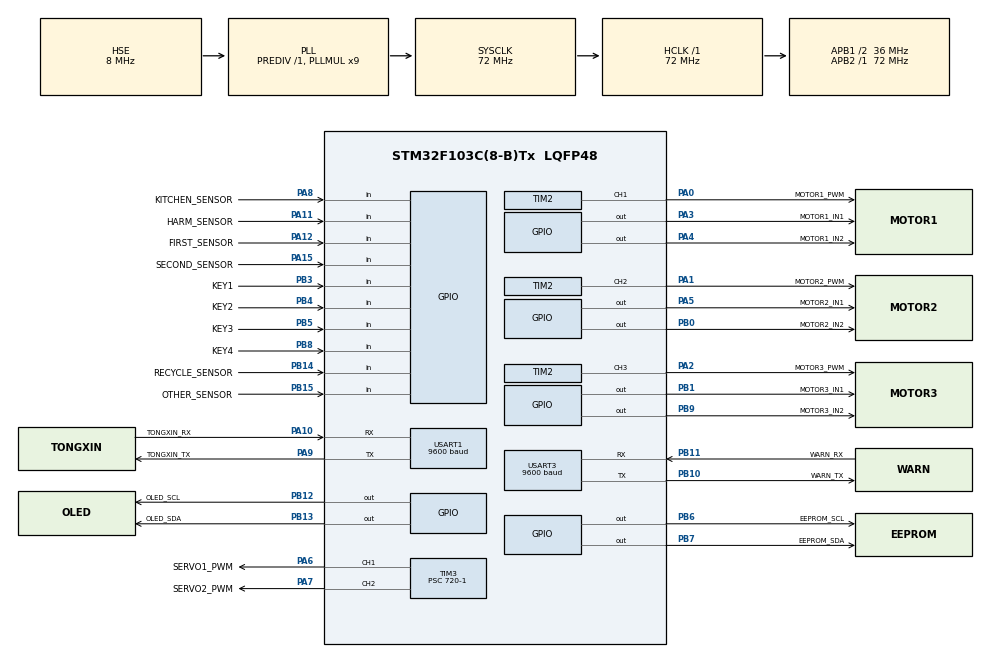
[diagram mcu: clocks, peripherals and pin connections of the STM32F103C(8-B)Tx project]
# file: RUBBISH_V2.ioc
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Dma.Request0=USART1_RX
Dma.Request1=USART1_TX
Dma.USART1_RX.0.Direction=DMA_PERIPH_TO_MEMORY
Dma.USART1_RX.0.Instance=DMA1_Channel5
Dma.USART1_RX.0.MemDataAlignment=DMA_MDATAALIGN_BYTE
Dma.USART1_RX.0.MemInc=DMA_MINC_ENABLE
Dma.USART1_RX.0.Mode=DMA_NORMAL
Dma.USART1_RX.0.PeriphDataAlignment=DMA_PDATAALIGN_BYTE
Dma.USART1_RX.0.PeriphInc=DMA_PINC_DISABLE
Dma.USART1_RX.0.Priority=DMA_PRIORITY_LOW
Dma.USART1_TX.1.Direction=DMA_MEMORY_TO_PERIPH
Dma.USART1_TX.1.Instance=DMA1_Channel4
Dma.USART1_TX.1.MemDataAlignment=DMA_MDATAALIGN_BYTE
Dma.USART1_TX.1.MemInc=DMA_MINC_ENABLE
Dma.USART1_TX.1.Mode=DMA_NORMAL
Dma.USART1_TX.1.PeriphDataAlignment=DMA_PDATAALIGN_BYTE
Dma.USART1_TX.1.PeriphInc=DMA_PINC_DISABLE
Dma.USART1_TX.1.Priority=DMA_PRIORITY_LOW
FREERTOS.INCLUDE_vTaskDelayUntil=1
FREERTOS.Tasks01=ConTask,2,128,Con_Task,Default,NULL,Dynamic,NULL,NULL;DisTask,1,128,Dis_Task,Default,NULL,Dynamic,NULL,NULL;KTask,0,128,K_Task,Default,NULL,Dynamic,NULL,NULL;eepTask,1,128,eep_Task,Default,NULL,Dynamic,NULL,NULL;SenTask,0,128,Sen_Task,Default,NULL,Dynamic,NULL,NULL;UartTask,0,128,Uart_Task,Default,NULL,Dynamic,NULL,NULL
FREERTOS.configTOTAL_HEAP_SIZE=6144
Mcu.Family=STM32F1
Mcu.Name=STM32F103C(8-B)Tx
Mcu.Package=LQFP48
NVIC.DMA1_Channel4_IRQn=true\:5\:0\:false\:false\:true\:true\:false\:true\:true
NVIC.DMA1_Channel5_IRQn=true\:5\:0\:false\:false\:true\:true\:false\:true\:true
NVIC.PriorityGroup=NVIC_PRIORITYGROUP_4
NVIC.TIM4_IRQn=true\:15\:0\:false\:false\:true\:false\:false\:true\:true
NVIC.TimeBase=TIM4_IRQn
NVIC.TimeBaseIP=TIM4
NVIC.USART1_IRQn=true\:5\:0\:true\:false\:true\:true\:true\:true\:true
NVIC.USART3_IRQn=true\:5\:0\:false\:false\:true\:true\:true\:true\:true
PA0-WKUP.GPIO_Label=MOTOR1_PWM
PA0-WKUP.Signal=S_TIM2_CH1_ETR
PA1.GPIO_Label=MOTOR2_PWM
PA1.Signal=S_TIM2_CH2
PA10.GPIO_Label=TONGXIN_RX
PA10.Mode=Asynchronous
PA10.Signal=USART1_RX
PA11.GPIO_Label=HARM_SENSOR
PA11.Signal=GPIO_Input
PA12.GPIO_Label=FIRST_SENSOR
PA12.GPIO_PuPd=GPIO_NOPULL
PA12.Signal=GPIO_Input
PA13.Mode=Serial_Wire
PA13.Signal=SYS_JTMS-SWDIO
PA14.Mode=Serial_Wire
PA14.Signal=SYS_JTCK-SWCLK
PA15.GPIO_Label=SECOND_SENSOR
PA15.GPIO_PuPd=GPIO_NOPULL
PA15.Signal=GPIO_Input
PA2.GPIO_Label=MOTOR3_PWM
PA2.Signal=S_TIM2_CH3
PA3.GPIO_Label=MOTOR1_IN1
PA3.PinState=GPIO_PIN_SET
PA3.Signal=GPIO_Output
PA4.GPIO_Label=MOTOR1_IN2
PA4.Signal=GPIO_Output
PA5.GPIO_Label=MOTOR2_IN1
PA5.PinState=GPIO_PIN_SET
PA5.Signal=GPIO_Output
PA6.GPIO_Label=SERVO1_PWM
PA6.Signal=S_TIM3_CH1
PA7.GPIO_Label=SERVO2_PWM
PA7.Signal=S_TIM3_CH2
PA8.GPIO_Label=KITCHEN_SENSOR
PA8.Signal=GPIO_Input
PA9.GPIO_Label=TONGXIN_TX
PA9.Mode=Asynchronous
PA9.Signal=USART1_TX
PB0.GPIO_Label=MOTOR2_IN2
PB0.Signal=GPIO_Output
PB1.GPIO_Label=MOTOR3_IN1
PB1.PinState=GPIO_PIN_SET
PB1.Signal=GPIO_Output
PB10.GPIO_Label=WARN_TX
PB10.Mode=Asynchronous
PB10.Signal=USART3_TX
PB11.GPIO_Label=WARN_RX
PB11.Mode=Asynchronous
PB11.Signal=USART3_RX
PB12.GPIO_Label=OLED_SCL
PB12.GPIO_ModeDefaultOutputPP=GPIO_MODE_OUTPUT_PP
PB12.GPIO_PuPd=GPIO_NOPULL
PB12.GPIO_Speed=GPIO_SPEED_FREQ_HIGH
PB12.PinState=GPIO_PIN_SET
PB12.Signal=GPIO_Output
PB13.GPIO_Label=OLED_SDA
PB13.GPIO_ModeDefaultOutputPP=GPIO_MODE_OUTPUT_PP
PB13.GPIO_PuPd=GPIO_NOPULL
PB13.GPIO_Speed=GPIO_SPEED_FREQ_HIGH
PB13.PinState=GPIO_PIN_SET
PB13.Signal=GPIO_Output
PB14.GPIO_Label=RECYCLE_SENSOR
PB14.Signal=GPIO_Input
PB15.GPIO_Label=OTHER_SENSOR
PB15.Signal=GPIO_Input
PB3.GPIO_Label=KEY1
PB3.GPIO_PuPd=GPIO_PULLUP
PB3.Signal=GPIO_Input
PB4.GPIO_Label=KEY2
PB4.GPIO_PuPd=GPIO_PULLUP
PB4.Signal=GPIO_Input
PB5.GPIO_Label=KEY3
PB5.GPIO_PuPd=GPIO_PULLUP
PB5.Signal=GPIO_Input
PB6.GPIO_Label=EEPROM_SCL
PB6.Signal=GPIO_Output
PB7.GPIO_Label=EEPROM_SDA
PB7.Signal=GPIO_Output
PB8.GPIO_Label=KEY4
PB8.GPIO_PuPd=GPIO_PULLUP
PB8.Signal=GPIO_Input
PB9.GPIO_Label=MOTOR3_IN2
PB9.Signal=GPIO_Output
PD0-OSC_IN.Mode=HSE-External-Oscillator
PD0-OSC_IN.Signal=RCC_OSC_IN
PD1-OSC_OUT.Mode=HSE-External-Oscillator
PD1-OSC_OUT.Signal=RCC_OSC_OUT
ProjectManager.HeapSize=0x200
ProjectManager.StackSize=0x400
ProjectManager.TargetToolchain=MDK-ARM V5.32
RCC.AHBFreq_Value=72000000
RCC.APB1CLKDivider=RCC_HCLK_DIV2
RCC.APB1Freq_Value=36000000
RCC.APB1TimFreq_Value=72000000
RCC.APB2Freq_Value=72000000
RCC.APB2TimFreq_Value=72000000
RCC.HCLKFreq_Value=72000000
RCC.PLLMUL=RCC_PLL_MUL9
RCC.PLLSourceVirtual=RCC_PLLSOURCE_HSE
RCC.SYSCLKFreq_VALUE=72000000
RCC.SYSCLKSource=RCC_SYSCLKSOURCE_PLLCLK
RCC.USBFreq_Value=72000000
SH.S_TIM2_CH1_ETR.0=TIM2_CH1,PWM Generation1 CH1
SH.S_TIM2_CH2.0=TIM2_CH2,PWM Generation2 CH2
SH.S_TIM2_CH3.0=TIM2_CH3,PWM Generation3 CH3
SH.S_TIM3_CH1.0=TIM3_CH1,PWM Generation1 CH1
SH.S_TIM3_CH2.0=TIM3_CH2,PWM Generation2 CH2
TIM2.AutoReloadPreload=TIM_AUTORELOAD_PRELOAD_ENABLE
TIM2.Channel-PWM\ Generation1\ CH1=TIM_CHANNEL_1
TIM2.Channel-PWM\ Generation2\ CH2=TIM_CHANNEL_2
TIM2.Channel-PWM\ Generation3\ CH3=TIM_CHANNEL_3
TIM2.Period=20000-1
TIM2.Prescaler=36-1
TIM3.Channel-PWM\ Generation1\ CH1=TIM_CHANNEL_1
TIM3.Channel-PWM\ Generation2\ CH2=TIM_CHANNEL_2
TIM3.Period=2000-1
TIM3.Prescaler=720-1
USART1.BaudRate=9600
USART1.VirtualMode=VM_ASYNC
USART3.BaudRate=9600
USART3.VirtualMode=VM_ASYNC
VP_FREERTOS_VS_CMSIS_V1.Mode=CMSIS_V1
VP_SYS_VS_tim4.Mode=TIM4
VP_TIM2_VS_ClockSourceINT.Mode=Internal
board=custom

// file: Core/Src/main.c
/* USER CODE BEGIN Header */
/**
  ******************************************************************************
  * @file           : main.c
  * @brief          : Main program body
  ******************************************************************************
  * @attention
  *
  * Copyright (c) 2025 STMicroelectronics.
  * All rights reserved.
  *
  * This software is licensed under terms that can be found in the LICENSE file
  * in the root directory of this software component.
  * If no LICENSE file comes with this software, it is provided AS-IS.
  *
  ******************************************************************************
  */
/* USER CODE END Header */
#include "main.h"
#include "cmsis_os.h"
#include "dma.h"
#include "tim.h"
#include "usart.h"
#include "gpio.h"

/* USER CODE BEGIN Includes */
#include "syn6288.h"
#include "oled.h"
#include "bsp_task.h"
#include "eeprom.h"
#include "usart.h"
#include "bsp_uart.h"
#include "string.h"
#include "bsp_math.h"
#include "bsp_motor.h"
/* USER CODE END Includes */

void SystemClock_Config(void);
void MX_FREERTOS_Init(void);

int main(void)
{

  /* MCU Configuration--------------------------------------------------------*/

  /* Reset of all peripherals, Initializes the Flash interface and the Systick. */
  HAL_Init();

  /* Configure the system clock */
  SystemClock_Config();

  /* Initialize all configured peripherals */
  MX_GPIO_Init();
  MX_DMA_Init();
  MX_USART3_UART_Init();
  MX_USART1_UART_Init();
  MX_TIM2_Init();
  MX_TIM3_Init();
  /* USER CODE BEGIN 2 */
  HAL_TIM_PWM_Start(&htim2,TIM_CHANNEL_1);
  HAL_TIM_PWM_Start(&htim2,TIM_CHANNEL_2);
  HAL_TIM_PWM_Start(&htim2,TIM_CHANNEL_3);
  HAL_TIM_PWM_Start(&htim3,TIM_CHANNEL_1);
  HAL_TIM_PWM_Start(&htim3,TIM_CHANNEL_2);
  OLED_Init();
  OLED_Clear();
  Init_Task();
  /* USER CODE END 2 */

  /* Call init function for freertos objects (in freertos.c) */
  MX_FREERTOS_Init();

  /* Start scheduler */
  osKernelStart();

  /* We should never get here as control is now taken by the scheduler */
  /* Infinite loop */
  while (1)
  {

  }
}

void SystemClock_Config(void)
{
  RCC_OscInitTypeDef RCC_OscInitStruct = {0};
  RCC_ClkInitTypeDef RCC_ClkInitStruct = {0};

  /** Initializes the RCC Oscillators according to the specified parameters
  * in the RCC_OscInitTypeDef structure.
  */
  RCC_OscInitStruct.OscillatorType = RCC_OSCILLATORTYPE_HSE;
  RCC_OscInitStruct.HSEState = RCC_HSE_ON;
  RCC_OscInitStruct.HSEPredivValue = RCC_HSE_PREDIV_DIV1;
  RCC_OscInitStruct.HSIState = RCC_HSI_ON;
  RCC_OscInitStruct.PLL.PLLState = RCC_PLL_ON;
  RCC_OscInitStruct.PLL.PLLSource = RCC_PLLSOURCE_HSE;
  RCC_OscInitStruct.PLL.PLLMUL = RCC_PLL_MUL9;
  if (HAL_RCC_OscConfig(&RCC_OscInitStruct) != HAL_OK)
  {
    Error_Handler();
  }

  /** Initializes the CPU, AHB and APB buses clocks
  */
  RCC_ClkInitStruct.ClockType = RCC_CLOCKTYPE_HCLK|RCC_CLOCKTYPE_SYSCLK
                              |RCC_CLOCKTYPE_PCLK1|RCC_CLOCKTYPE_PCLK2;
  RCC_ClkInitStruct.SYSCLKSource = RCC_SYSCLKSOURCE_PLLCLK;
  RCC_ClkInitStruct.AHBCLKDivider = RCC_SYSCLK_DIV1;
  RCC_ClkInitStruct.APB1CLKDivider = RCC_HCLK_DIV2;
  RCC_ClkInitStruct.APB2CLKDivider = RCC_HCLK_DIV1;

  if (HAL_RCC_ClockConfig(&RCC_ClkInitStruct, FLASH_LATENCY_2) != HAL_OK)
  {
    Error_Handler();
  }
}

void HAL_TIM_PeriodElapsedCallback(TIM_HandleTypeDef *htim)
{
  if (htim->Instance == TIM4) {
    HAL_IncTick();
  }
}

void Error_Handler(void)
{
  __disable_irq();
  while (1)
  {
  }
}

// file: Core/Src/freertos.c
/* USER CODE BEGIN Header */
/**
  ******************************************************************************
  * File Name          : freertos.c
  * Description        : Code for freertos applications
  ******************************************************************************
  * @attention
  *
  * Copyright (c) 2025 STMicroelectronics.
  * All rights reserved.
  *
  * This software is licensed under terms that can be found in the LICENSE file
  * in the root directory of this software component.
  * If no LICENSE file comes with this software, it is provided AS-IS.
  *
  ******************************************************************************
  */
/* USER CODE END Header */

#include "FreeRTOS.h"
#include "task.h"
#include "main.h"
#include "cmsis_os.h"

/* USER CODE BEGIN Includes */
#include "oled.h"
#include "string.h"
#include "stdio.h"
#include "bsp_uart.h"
#include "usart.h"
#include "sensor.h"
#include "bsp_motor.h"
#include "key.h"
#include "bsp_task.h"
#include "syn6288.h"
#include "eeprom.h"
#include "tim.h"
/* USER CODE END Includes */

osThreadId ConTaskHandle;
osThreadId DisTaskHandle;
osThreadId KTaskHandle;
osThreadId eepTaskHandle;
osThreadId SenTaskHandle;
osThreadId UartTaskHandle;

void Con_Task(void const * argument);
void Dis_Task(void const * argument);
void K_Task(void const * argument);
void eep_Task(void const * argument);
void Sen_Task(void const * argument);
void Uart_Task(void const * argument);

void MX_FREERTOS_Init(void); /* (MISRA C 2004 rule 8.1) */

/* GetIdleTaskMemory prototype (linked to static allocation support) */
void vApplicationGetIdleTaskMemory( StaticTask_t **ppxIdleTaskTCBBuffer, StackType_t **ppxIdleTaskStackBuffer, uint32_t *pulIdleTaskStackSize );

/* USER CODE BEGIN GET_IDLE_TASK_MEMORY */
static StaticTask_t xIdleTaskTCBBuffer;
static StackType_t xIdleStack[configMINIMAL_STACK_SIZE];

void vApplicationGetIdleTaskMemory( StaticTask_t **ppxIdleTaskTCBBuffer, StackType_t **ppxIdleTaskStackBuffer, uint32_t *pulIdleTaskStackSize )
{
  *ppxIdleTaskTCBBuffer = &xIdleTaskTCBBuffer;
  *ppxIdleTaskStackBuffer = &xIdleStack[0];
  *pulIdleTaskStackSize = configMINIMAL_STACK_SIZE;
  /* place for user code */
}
/* USER CODE END GET_IDLE_TASK_MEMORY */

void MX_FREERTOS_Init(void) {

  /* Create the thread(s) */
  /* definition and creation of ConTask */
  osThreadDef(ConTask, Con_Task, osPriorityHigh, 0, 128);
  ConTaskHandle = osThreadCreate(osThread(ConTask), NULL);

  /* definition and creation of DisTask */
  osThreadDef(DisTask, Dis_Task, osPriorityAboveNormal, 0, 128);
  DisTaskHandle = osThreadCreate(osThread(DisTask), NULL);

  /* definition and creation of KTask */
  osThreadDef(KTask, K_Task, osPriorityNormal, 0, 128);
  KTaskHandle = osThreadCreate(osThread(KTask), NULL);

  /* definition and creation of eepTask */
  osThreadDef(eepTask, eep_Task, osPriorityAboveNormal, 0, 128);
  eepTaskHandle = osThreadCreate(osThread(eepTask), NULL);

  /* definition and creation of SenTask */
  osThreadDef(SenTask, Sen_Task, osPriorityNormal, 0, 128);
  SenTaskHandle = osThreadCreate(osThread(SenTask), NULL);

  /* definition and creation of UartTask */
  osThreadDef(UartTask, Uart_Task, osPriorityNormal, 0, 128);
  UartTaskHandle = osThreadCreate(osThread(UartTask), NULL);

}

void Con_Task(void const * argument)
{
  /* USER CODE BEGIN Con_Task */
  /* Infinite loop */
  for(;;)
  {
	Control_Task();
    vTaskDelay(10);
  }
  /* USER CODE END Con_Task */
}

void Dis_Task(void const * argument)
{
  /* USER CODE BEGIN Dis_Task */
  /* Infinite loop */
  for(;;)
  {
	  Display_Task();
	  vTaskDelay(10);
  }
  /* USER CODE END Dis_Task */
}

void K_Task(void const * argument)
{
  /* USER CODE BEGIN K_Task */
  /* Infinite loop */
  for(;;)
  {
	 Key_Task();
     osDelay(10);
  }
  /* USER CODE END K_Task */
}

void eep_Task(void const * argument)
{
  /* USER CODE BEGIN eep_Task */
  /* Infinite loop */
  for(;;)
  {
	eeprom_Task();
    vTaskDelay(10);
  }
  /* USER CODE END eep_Task */
}

void Sen_Task(void const * argument)
{
  /* USER CODE BEGIN Sen_Task */
  /* Infinite loop */
  for(;;)
  {
	Sensor_Task();
    osDelay(10);
  }
  /* USER CODE END Sen_Task */
}

void Uart_Task(void const * argument)
{
  /* USER CODE BEGIN Uart_Task */
  /* Infinite loop */
  for(;;)
  {
	uart_Task();
    osDelay(10);
  }
  /* USER CODE END Uart_Task */
}
